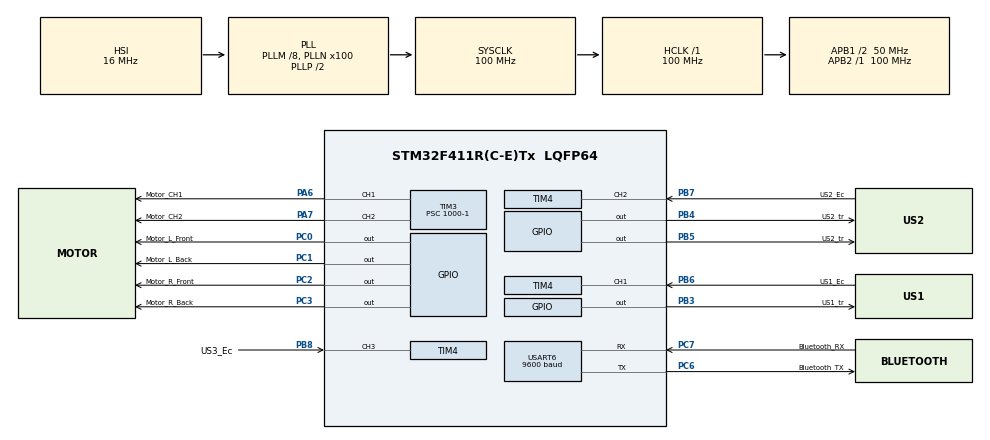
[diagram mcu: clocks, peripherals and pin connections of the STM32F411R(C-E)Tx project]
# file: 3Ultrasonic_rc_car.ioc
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FREERTOS.Tasks01=US1,24,128,US1T,Default,NULL,Dynamic,NULL,NULL;US2,8,128,US2T,Default,NULL,Dynamic,NULL,NULL;US3,8,128,US3T,Default,NULL,Dynamic,NULL,NULL;Motor,8,128,MotorS,Default,NULL,Dynamic,NULL,NULL
FREERTOS.configTICK_RATE_HZ=1000
FREERTOS.configUSE_NEWLIB_REENTRANT=1
Mcu.Family=STM32F4
Mcu.Name=STM32F411R(C-E)Tx
Mcu.Package=LQFP64
NVIC.PriorityGroup=NVIC_PRIORITYGROUP_4
NVIC.TIM1_TRG_COM_TIM11_IRQn=true\:15\:0\:false\:false\:true\:false\:true\:true\:true
NVIC.TIM4_IRQn=true\:5\:0\:false\:false\:true\:true\:true\:true\:true
NVIC.TimeBase=TIM1_TRG_COM_TIM11_IRQn
NVIC.TimeBaseIP=TIM11
NVIC.USART6_IRQn=true\:5\:0\:false\:false\:true\:true\:true\:true\:true
PA6.GPIO_Label=Motor_CH1
PA6.Signal=S_TIM3_CH1
PA7.GPIO_Label=Motor_CH2
PA7.Signal=S_TIM3_CH2
PB3.GPIO_Label=US1_tr
PB3.GPIO_Speed=GPIO_SPEED_FREQ_HIGH
PB3.PinState=GPIO_PIN_RESET
PB3.Signal=GPIO_Output
PB4.GPIO_Label=US2_tr
PB4.GPIO_Speed=GPIO_SPEED_FREQ_HIGH
PB4.Signal=GPIO_Output
PB5.GPIO_Label=US2_tr
PB5.GPIO_Speed=GPIO_SPEED_FREQ_HIGH
PB5.Signal=GPIO_Output
PB6.GPIO_Label=US1_Ec
PB6.Signal=S_TIM4_CH1
PB7.GPIO_Label=US2_Ec
PB7.Signal=S_TIM4_CH2
PB8.GPIO_Label=US3_Ec
PB8.Signal=S_TIM4_CH3
PC0.GPIO_Label=Motor_L_Front
PC0.Signal=GPIO_Output
PC1.GPIO_Label=Motor_L_Back
PC1.Signal=GPIO_Output
PC2.GPIO_Label=Motor_R_Front
PC2.Signal=GPIO_Output
PC3.GPIO_Label=Motor_R_Back
PC3.Signal=GPIO_Output
PC6.GPIO_Label=Bluetooth_TX
PC6.GPIO_Speed=GPIO_SPEED_FREQ_HIGH
PC6.Mode=Asynchronous
PC6.Signal=USART6_TX
PC7.GPIO_Label=Bluetooth_RX
PC7.GPIO_Speed=GPIO_SPEED_FREQ_HIGH
PC7.Mode=Asynchronous
PC7.Signal=USART6_RX
PH0\ -\ OSC_IN.Mode=HSE-External-Oscillator
PH0\ -\ OSC_IN.Signal=RCC_OSC_IN
PH1\ -\ OSC_OUT.Mode=HSE-External-Oscillator
PH1\ -\ OSC_OUT.Signal=RCC_OSC_OUT
ProjectManager.HeapSize=0x200
ProjectManager.StackSize=0x400
ProjectManager.TargetToolchain=STM32CubeIDE
RCC.48MHZClocksFreq_Value=50000000
RCC.AHBFreq_Value=100000000
RCC.APB1CLKDivider=RCC_HCLK_DIV2
RCC.APB1Freq_Value=50000000
RCC.APB1TimFreq_Value=100000000
RCC.APB2Freq_Value=100000000
RCC.APB2TimFreq_Value=100000000
RCC.CortexFreq_Value=100000000
RCC.HCLKFreq_Value=100000000
RCC.HSE_VALUE=25000000
RCC.HSI_VALUE=16000000
RCC.LSE_VALUE=32768
RCC.PLLM=8
RCC.PLLN=100
RCC.SYSCLKFreq_VALUE=100000000
RCC.SYSCLKSource=RCC_SYSCLKSOURCE_PLLCLK
RCC.VCOOutputFreq_Value=200000000
SH.S_TIM3_CH1.0=TIM3_CH1,PWM Generation1 CH1
SH.S_TIM3_CH2.0=TIM3_CH2,PWM Generation2 CH2
SH.S_TIM4_CH1.0=TIM4_CH1,Input_Capture1_from_TI1
SH.S_TIM4_CH2.0=TIM4_CH2,Input_Capture2_from_TI2
SH.S_TIM4_CH3.0=TIM4_CH3,Input_Capture3_from_TI3
TIM3.Channel-PWM\ Generation1\ CH1=TIM_CHANNEL_1
TIM3.Channel-PWM\ Generation2\ CH2=TIM_CHANNEL_2
TIM3.Period=1000-1
TIM3.Prescaler=1000-1
TIM4.Channel-Input_Capture1_from_TI1=TIM_CHANNEL_1
TIM4.Channel-Input_Capture2_from_TI2=TIM_CHANNEL_2
TIM4.Channel-Input_Capture3_from_TI3=TIM_CHANNEL_3
TIM4.ICFilter_CH1=12
TIM4.ICFilter_CH2=12
TIM4.ICFilter_CH3=12
TIM4.Prescaler=100-1
TIM9.Prescaler=100-1
USART6.BaudRate=9600
USART6.VirtualMode=VM_ASYNC
VP_FREERTOS_VS_CMSIS_V2.Mode=CMSIS_V2
VP_SYS_VS_tim11.Mode=TIM11
VP_TIM9_VS_ClockSourceINT.Mode=Internal
board=custom

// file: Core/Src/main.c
/* USER CODE BEGIN Header */
/**
  ******************************************************************************
  * @file           : main.c
  * @brief          : Main program body
  ******************************************************************************
  * @attention
  *
  * Copyright (c) 2024 STMicroelectronics.
  * All rights reserved.
  *
  * This software is licensed under terms that can be found in the LICENSE file
  * in the root directory of this software component.
  * If no LICENSE file comes with this software, it is provided AS-IS.
  *
  ******************************************************************************
  */
/* USER CODE END Header */
#include "main.h"
#include "cmsis_os.h"
#include "tim.h"
#include "usart.h"
#include "gpio.h"

/* USER CODE BEGIN Includes */
#include "ap.h"
/* USER CODE END Includes */

void SystemClock_Config(void);
void MX_FREERTOS_Init(void);

int main(void)
{

  /* MCU Configuration--------------------------------------------------------*/

  /* Reset of all peripherals, Initializes the Flash interface and the Systick. */
  HAL_Init();

  /* Configure the system clock */
  SystemClock_Config();

  /* Initialize all configured peripherals */
  MX_GPIO_Init();
  MX_TIM3_Init();
  MX_USART6_UART_Init();
  MX_TIM4_Init();
  MX_TIM9_Init();
  /* USER CODE BEGIN 2 */

  apInit();
  apMain();

  /* USER CODE END 2 */

  /* Init scheduler */
  osKernelInitialize();

  /* Call init function for freertos objects (in cmsis_os2.c) */
  MX_FREERTOS_Init();

  /* Start scheduler */
  osKernelStart();

  /* We should never get here as control is now taken by the scheduler */

  /* Infinite loop */
  while (1)
  {

  }
}

void SystemClock_Config(void)
{
  RCC_OscInitTypeDef RCC_OscInitStruct = {0};
  RCC_ClkInitTypeDef RCC_ClkInitStruct = {0};

  /** Configure the main internal regulator output voltage
  */
  __HAL_RCC_PWR_CLK_ENABLE();
  __HAL_PWR_VOLTAGESCALING_CONFIG(PWR_REGULATOR_VOLTAGE_SCALE1);

  /** Initializes the RCC Oscillators according to the specified parameters
  * in the RCC_OscInitTypeDef structure.
  */
  RCC_OscInitStruct.OscillatorType = RCC_OSCILLATORTYPE_HSI;
  RCC_OscInitStruct.HSIState = RCC_HSI_ON;
  RCC_OscInitStruct.HSICalibrationValue = RCC_HSICALIBRATION_DEFAULT;
  RCC_OscInitStruct.PLL.PLLState = RCC_PLL_ON;
  RCC_OscInitStruct.PLL.PLLSource = RCC_PLLSOURCE_HSI;
  RCC_OscInitStruct.PLL.PLLM = 8;
  RCC_OscInitStruct.PLL.PLLN = 100;
  RCC_OscInitStruct.PLL.PLLP = RCC_PLLP_DIV2;
  RCC_OscInitStruct.PLL.PLLQ = 4;
  if (HAL_RCC_OscConfig(&RCC_OscInitStruct) != HAL_OK)
  {
    Error_Handler();
  }

  /** Initializes the CPU, AHB and APB buses clocks
  */
  RCC_ClkInitStruct.ClockType = RCC_CLOCKTYPE_HCLK|RCC_CLOCKTYPE_SYSCLK
                              |RCC_CLOCKTYPE_PCLK1|RCC_CLOCKTYPE_PCLK2;
  RCC_ClkInitStruct.SYSCLKSource = RCC_SYSCLKSOURCE_PLLCLK;
  RCC_ClkInitStruct.AHBCLKDivider = RCC_SYSCLK_DIV1;
  RCC_ClkInitStruct.APB1CLKDivider = RCC_HCLK_DIV2;
  RCC_ClkInitStruct.APB2CLKDivider = RCC_HCLK_DIV1;

  if (HAL_RCC_ClockConfig(&RCC_ClkInitStruct, FLASH_LATENCY_3) != HAL_OK)
  {
    Error_Handler();
  }
}

void HAL_TIM_PeriodElapsedCallback(TIM_HandleTypeDef *htim)
{
  if (htim->Instance == TIM11) {
    HAL_IncTick();
  }
}

void Error_Handler(void)
{
  __disable_irq();
  while (1)
  {
  }
}

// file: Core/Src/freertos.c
/* USER CODE BEGIN Header */
/**
  ******************************************************************************
  * File Name          : freertos.c
  * Description        : Code for freertos applications
  ******************************************************************************
  * @attention
  *
  * Copyright (c) 2024 STMicroelectronics.
  * All rights reserved.
  *
  * This software is licensed under terms that can be found in the LICENSE file
  * in the root directory of this software component.
  * If no LICENSE file comes with this software, it is provided AS-IS.
  *
  ******************************************************************************
  */
/* USER CODE END Header */

#include "FreeRTOS.h"
#include "task.h"
#include "main.h"
#include "cmsis_os.h"

/* USER CODE BEGIN Includes */
#include "ap.h"
/* USER CODE END Includes */

/* USER CODE BEGIN Variables */
extern uint8_t Start;
extern uint8_t rxData;

extern uint16_t US1_distance;
extern uint16_t US2_distance;
extern uint16_t US3_distance;
/* USER CODE END Variables */
/* Definitions for US1 */
osThreadId_t US1Handle;
const osThreadAttr_t US1_attributes = {
  .name = "US1",
  .stack_size = 128 * 4,
  .priority = (osPriority_t) osPriorityNormal,
};
/* Definitions for US2 */
osThreadId_t US2Handle;
const osThreadAttr_t US2_attributes = {
  .name = "US2",
  .stack_size = 128 * 4,
  .priority = (osPriority_t) osPriorityLow,
};
/* Definitions for US3 */
osThreadId_t US3Handle;
const osThreadAttr_t US3_attributes = {
  .name = "US3",
  .stack_size = 128 * 4,
  .priority = (osPriority_t) osPriorityLow,
};
/* Definitions for Motor */
osThreadId_t MotorHandle;
const osThreadAttr_t Motor_attributes = {
  .name = "Motor",
  .stack_size = 128 * 4,
  .priority = (osPriority_t) osPriorityLow,
};

void US1T(void *argument);
void US2T(void *argument);
void US3T(void *argument);
void MotorS(void *argument);

void MX_FREERTOS_Init(void); /* (MISRA C 2004 rule 8.1) */

void MX_FREERTOS_Init(void) {

  /* Create the thread(s) */
  /* creation of US1 */
  US1Handle = osThreadNew(US1T, NULL, &US1_attributes);

  /* creation of US2 */
  US2Handle = osThreadNew(US2T, NULL, &US2_attributes);

  /* creation of US3 */
  US3Handle = osThreadNew(US3T, NULL, &US3_attributes);

  /* creation of Motor */
  MotorHandle = osThreadNew(MotorS, NULL, &Motor_attributes);

}

void US1T(void *argument)
{
  /* USER CODE BEGIN US1T */
  /* Infinite loop */
  for(;;)
  {
	  if (Start == 1)
	  {
		HCSR04_US1_read();
		osDelay(50);
	  }
  }
  /* USER CODE END US1T */
}

void US2T(void *argument)
{
  /* USER CODE BEGIN US2T */
  /* Infinite loop */
  for(;;)
  {
	  if (Start == 1)
	  {
		HCSR04_US2_read();
		osDelay(50);
	  }
  }
  /* USER CODE END US2T */
}

void US3T(void *argument)
{
  /* USER CODE BEGIN US3T */
  /* Infinite loop */
  for(;;)
  {
	  if (Start == 1)
	  {
		HCSR04_US3_read();
		osDelay(50);
	  }
  }
  /* USER CODE END US3T */
}

void MotorS(void *argument)
{
  /* USER CODE BEGIN MotorS */
  /* Infinite loop */
  for(;;)
  {
	  if (Start == 1)
	  {
		  if (US2_distance > 30)
		  {
			  Motor_Spin_F();

			  if (US1_distance > 20 && US3_distance <= 20)
			  {
				  Motor_Spin_L();
			  }
			  if (US3_distance > 20 && US1_distance <= 20)
			  {
				  Motor_Spin_R();
			  }
		  }

		  if (US2_distance < 20)
		  {
			  if (US1_distance > 13 && US3_distance <= 13)
			  {
				  Motor_Spin_L();
				  delay_100us(500);
			  }
			  if (US3_distance > 13 && US1_distance <= 13)
			  {
				  Motor_Spin_R();
				  delay_100us(500);
			  }
		  }

		  if (US2_distance < 10)
		  {
			  if (US1_distance > 8 && US3_distance <= 8)
			  {
				  Motor_Spin_Back();
				  delay_100us(2000);
				  Motor_Spin_L();
				  delay_100us(1000);
			  }
			  if (US3_distance > 8 && US1_distance <= 8)
			  {
				  Motor_Spin_Back();
				  delay_100us(2000);
				  Motor_Spin_R();
				  delay_100us(1000);
			  }
		  }

		  if (US2_distance < 7)
		  {
			  if (US1_distance > US3_distance)
			  {
				  Motor_Spin_Back();
				  delay_100us(3000);
				  Motor_Spin_L();
				  delay_100us(1500);
			  }
			  if (US3_distance > US1_distance)
			  {
				  Motor_Spin_Back();
				  delay_100us(3000);
				  Motor_Spin_R();
				  delay_100us(1500);
			  }
		  }
	  }
    osDelay(5);
  }
  /* USER CODE END MotorS */
}
